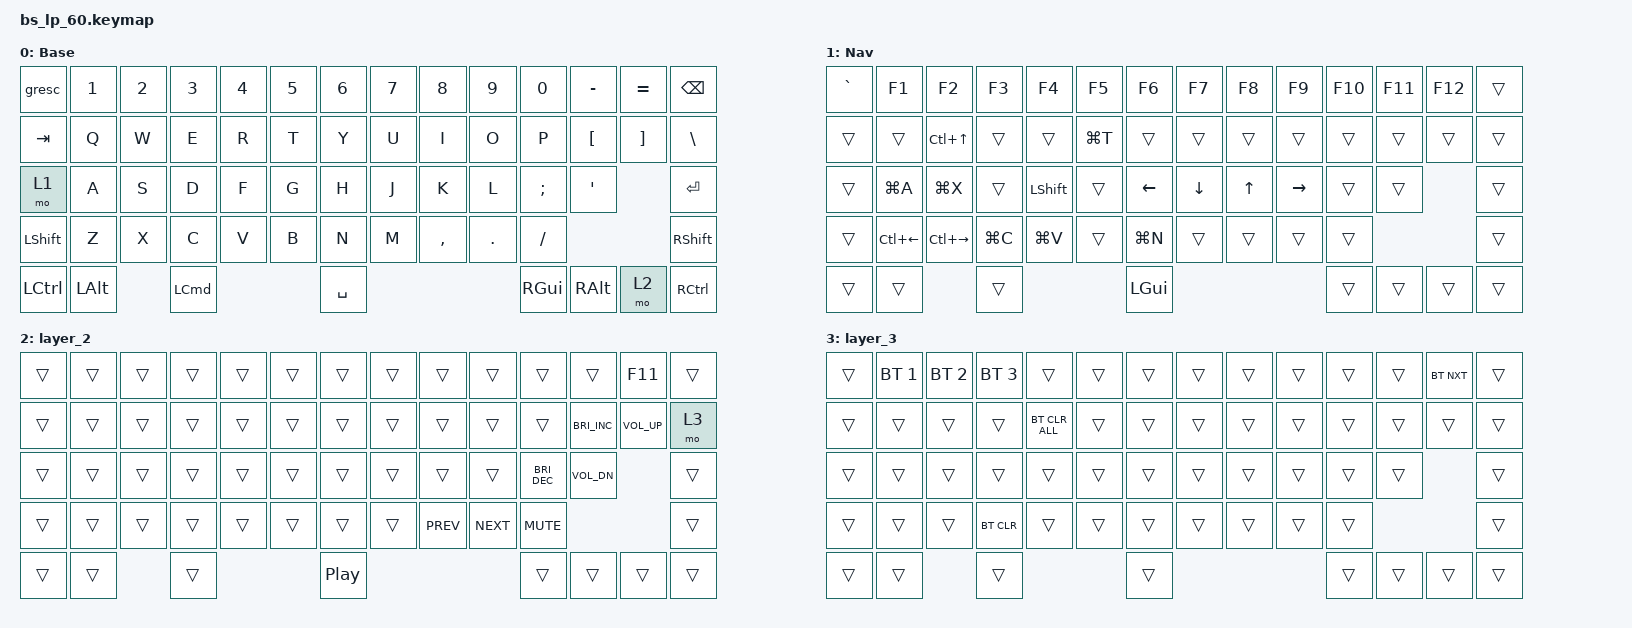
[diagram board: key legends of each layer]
/*
 * Copyright (c) 2021 Cole Smith
 *
 * SPDX-License-Identifier: MIT
 */

#include <dt-bindings/zmk/reset.h>
#include <behaviors.dtsi>
#include <dt-bindings/zmk/bt.h>
#include <dt-bindings/zmk/keys.h>

#define BAS_L 0
#define NAV_L 1

/ {
    keymap {
        compatible = "zmk,keymap";

        default_layer {
            // ------------------------------------------------------------------------------------------
            // | ESC |  1  |  2  |  3  |  4  |  5  |  6  |  7  |  8  |  9  |  0  |  -  |  =  |   BKSP   |
            // | TAB  |  Q  |  W  |  E  |  R  |  T  |  Y  |  U  |  I  |  O  |  P  |  [  |  ]  |   "|"   |
            // | CAPS  |  A  |  S  |  D  |  F  |  G  |  H  |  J  |  K  |  L  |  ;  |  '  |     ENTER    |
            // |  SHIFT  |  Z  |  X  |  C  |  V  |  B  |  N  |  M  |  ,  |  .  |  /  |      SHIFT       |
            // |  CTL  |  WIN  |  ALT  |            SPACE              |  ALT  |  WIN  |  MO(1) |  CTL  |
            // ------------------------------------------------------------------------------------------

            label = "Base";
            bindings = <
&gresc     &kp N1        &kp N2  &kp N3            &kp N4  &kp N5  &kp N6     &kp N7  &kp N8     &kp N9   &kp N0         &kp MINUS      &kp EQUAL  &kp BSPC
&kp TAB    &kp Q         &kp W   &kp E             &kp R   &kp T   &kp Y      &kp U   &kp I      &kp O    &kp P          &kp LBKT       &kp RBKT   &kp BSLH
&mo 1      &kp A         &kp S   &kp D             &kp F   &kp G   &kp H      &kp J   &kp K      &kp L    &kp SEMI       &kp SQT                   &kp RET
&kp LSHFT  &kp Z         &kp X   &kp C             &kp V   &kp B   &kp N      &kp M   &kp COMMA  &kp DOT  &kp FSLH                                 &kp RSHFT
&kp LCTRL  &kp LEFT_ALT          &kp LEFT_COMMAND                  &kp SPACE                              &kp RIGHT_GUI  &kp RIGHT_ALT  &mo 2      &kp RCTRL
            >;
        };

        ble_layer {
            // ------------------------------------------------------------------------------------------------
            // | BT CLR | F1  | F2  | F3  | F4  | F5  | F6  | F7  | F8  | F9  | F10  | F11 | F12 |            |
            // |  BT 1   |   |  UP |   |       |       |       |       |   |     |    |     |     |           |
            // |   BT 2   | LT |  DN  | RT |       |       |       |       |   |     |   |     |              |
            // |    BT 3     |     |      |      |     |     |     |     |     |     |     |                  |
            // |   BT 4  |      |      |                                    | PRT SCR |       |       |  DEL  |
            // ------------------------------------------------------------------------------------------------

            label = "Nav";
            bindings = <
&kp GRAVE  &kp F1        &kp F2            &kp F3     &kp F4          &kp F5     &kp F6        &kp F7    &kp F8  &kp F9     &kp F10  &kp F11  &kp F12  &trans
&trans     &trans        &kp LC(UP_ARROW)  &trans     &trans          &kp LG(T)  &trans        &trans    &trans  &trans     &trans   &trans   &trans   &trans
&trans     &kp LG(A)     &kp LG(X)         &trans     &kp LEFT_SHIFT  &trans     &kp LEFT      &kp DOWN  &kp UP  &kp RIGHT  &trans   &trans            &trans
&trans     &kp LC(LEFT)  &kp LC(RIGHT)     &kp LG(C)  &kp LG(V)       &trans     &kp LG(N)     &trans    &trans  &trans     &trans                     &trans
&trans     &trans                          &trans                                &kp LEFT_GUI                               &trans   &trans   &trans   &trans
            >;
        };

        layer_2 {
            bindings = <
&trans  &trans  &trans  &trans  &trans  &trans  &trans    &trans  &trans      &trans      &trans                &trans                &kp F11          &trans
&trans  &trans  &trans  &trans  &trans  &trans  &trans    &trans  &trans      &trans      &trans                &kp C_BRIGHTNESS_INC  &kp K_VOLUME_UP  &mo 3
&trans  &trans  &trans  &trans  &trans  &trans  &trans    &trans  &trans      &trans      &kp C_BRIGHTNESS_DEC  &kp K_VOL_DN                           &trans
&trans  &trans  &trans  &trans  &trans  &trans  &trans    &trans  &kp C_PREV  &kp C_NEXT  &kp K_MUTE                                                   &trans
&trans  &trans          &trans                  &kp C_PP                                  &trans                &trans                &trans           &trans
            >;
        };

        layer_3 {
            bindings = <
&trans  &bt BT_SEL 1  &bt BT_SEL 2  &bt BT_SEL 3  &trans          &trans  &trans  &trans  &trans  &trans  &trans  &trans  &bt BT_NXT  &trans
&trans  &trans        &trans        &trans        &bt BT_CLR_ALL  &trans  &trans  &trans  &trans  &trans  &trans  &trans  &trans      &trans
&trans  &trans        &trans        &trans        &trans          &trans  &trans  &trans  &trans  &trans  &trans  &trans              &trans
&trans  &trans        &trans        &bt BT_CLR    &trans          &trans  &trans  &trans  &trans  &trans  &trans                      &trans
&trans  &trans                      &trans                                &trans                          &trans  &trans  &trans      &trans
            >;
        };
    };
};
